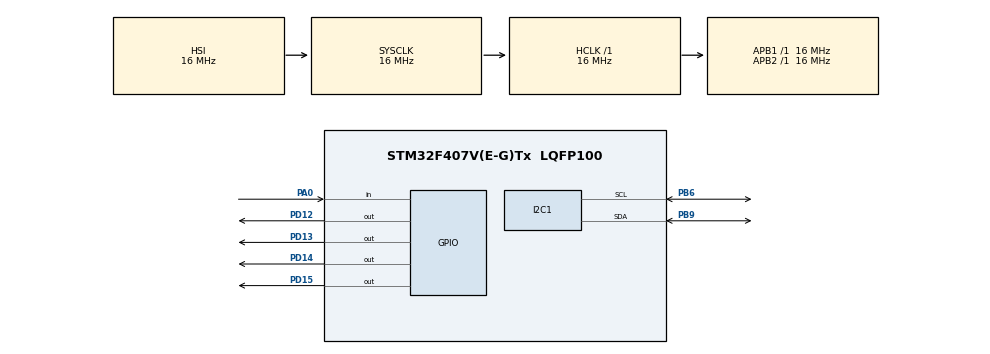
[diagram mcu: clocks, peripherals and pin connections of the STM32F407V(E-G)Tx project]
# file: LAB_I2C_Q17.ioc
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I2C1.AddressingMode=I2C_ADDRESSINGMODE_10BIT
I2C1.DutyCycle=I2C_DUTYCYCLE_16_9
I2C1.I2C_Mode=I2C_Fast
I2C1.OwnAddress=0x1D
Mcu.Family=STM32F4
Mcu.Name=STM32F407V(E-G)Tx
Mcu.Package=LQFP100
NVIC.I2C1_ER_IRQn=true\:0\:0\:false\:false\:true\:true\:true\:true
NVIC.I2C1_EV_IRQn=true\:0\:0\:false\:false\:true\:true\:true\:true
NVIC.PriorityGroup=NVIC_PRIORITYGROUP_4
PA0-WKUP.Signal=GPIO_Input
PB6.Mode=I2C
PB6.Signal=I2C1_SCL
PB9.Mode=I2C
PB9.Signal=I2C1_SDA
PD12.Signal=GPIO_Output
PD13.Signal=GPIO_Output
PD14.Signal=GPIO_Output
PD15.Signal=GPIO_Output
ProjectManager.HeapSize=0x200
ProjectManager.StackSize=0x400
ProjectManager.TargetToolchain=STM32CubeIDE
RCC.AHBFreq_Value=16000000
RCC.APB1Freq_Value=16000000
RCC.APB2Freq_Value=16000000
RCC.CortexFreq_Value=16000000
RCC.HSE_VALUE=25000000
RCC.HSI_VALUE=16000000
RCC.LSE_VALUE=32768
RCC.SYSCLKFreq_VALUE=16000000
RCC.VCOOutputFreq_Value=192000000
board=custom

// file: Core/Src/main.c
/* USER CODE BEGIN Header */
/**
  ******************************************************************************
  * @file           : main.c
  * @brief          : Main program body
  ******************************************************************************
  * @attention
  *
  * Copyright (c) 2026 STMicroelectronics.
  * All rights reserved.
  *
  * This software is licensed under terms that can be found in the LICENSE file
  * in the root directory of this software component.
  * If no LICENSE file comes with this software, it is provided AS-IS.
  *
  ******************************************************************************
  */
/* USER CODE END Header */
#include "main.h"

/* USER CODE BEGIN PD */
#define MASTER_BOARD
#define I2C_ADDRESS  0x1D
/* USER CODE END PD */

I2C_HandleTypeDef hi2c1;

/* USER CODE BEGIN PV */
uint8_t ubKeyNumber = 0x0;
 uint8_t aTxBuffer[2];
 uint8_t aRxBuffer[2];

/* USER CODE END PV */

void SystemClock_Config(void);
static void MX_GPIO_Init(void);
static void MX_I2C1_Init(void);
/* USER CODE BEGIN PFP */
void LED_Display(uint8_t LedStatus);
/* USER CODE END PFP */

int main(void)
{

  /* MCU Configuration--------------------------------------------------------*/

  /* Reset of all peripherals, Initializes the Flash interface and the Systick. */
  HAL_Init();

  /* Configure the system clock */
  SystemClock_Config();

  /* Initialize all configured peripherals */
  MX_GPIO_Init();
  MX_I2C1_Init();

  /* Infinite loop */
  /* USER CODE BEGIN WHILE */
#ifdef MASTER_BOARD
  while (1)
  {

      if (HAL_GPIO_ReadPin(GPIOA, GPIO_PIN_0) == GPIO_PIN_SET)
          {
                HAL_Delay(50);//Debouncing Delay
                if (HAL_GPIO_ReadPin(GPIOA, GPIO_PIN_0) == GPIO_PIN_SET)
                    {
                        if (ubKeyNumber == 0x4)
                              ubKeyNumber = 0x00;
                        else
                            {
                                LED_Display(++ubKeyNumber);

                                /* Set the data to be transmitted */
                                aTxBuffer[0] = ubKeyNumber;
                                aTxBuffer[1] = 0xAA;

                                /*##-1- Start the transmission process #####################################*/
                                /* While the I2C in reception process, user can transmit data through
                                "aTxBuffer" buffer */
                                /* Timeout is set to 10S */
                                while(HAL_I2C_Master_Transmit(&hi2c1, (uint16_t)I2C_ADDRESS, (uint8_t*)aTxBuffer, 2,10000)!= HAL_OK)
                                    {
                                        /* Error_Handler() function is called when Timeout error occurs.
                                       When Acknowledge failure occurs (Slave don't acknowledge it's address)
                                       Master restarts communication */
                                        if (HAL_I2C_GetError(&hi2c1) != HAL_I2C_ERROR_AF)
                                                Error_Handler();

                                    }
                                HAL_Delay(100);//Delay just for better Tuning
                            }
                        }
             }

    /* USER CODE END WHILE */

    /* USER CODE BEGIN 3 */
  }

#else
  while(1)
  {

      /*##-2- Put I2C peripheral in reception process ############################*/
        /* Timeout is set to 10S  */
        if(HAL_I2C_Slave_Receive(&hi2c1, (uint8_t *)aRxBuffer, 2, 10000) == HAL_OK)
            LED_Display(aRxBuffer[0]);
        else
            Error_Handler();    /* Transfer error in reception process */

        //while (HAL_I2C_GetState(&hi2c1) != HAL_I2C_STATE_READY);
  }
#endif /* MASTER_BOARD */
    /* USER CODE END WHILE */

    /* USER CODE BEGIN 3 */
  }
  /* USER CODE END 3 */

void SystemClock_Config(void)
{
  RCC_OscInitTypeDef RCC_OscInitStruct = {0};
  RCC_ClkInitTypeDef RCC_ClkInitStruct = {0};

  /** Configure the main internal regulator output voltage
  */
  __HAL_RCC_PWR_CLK_ENABLE();
  __HAL_PWR_VOLTAGESCALING_CONFIG(PWR_REGULATOR_VOLTAGE_SCALE1);

  /** Initializes the RCC Oscillators according to the specified parameters
  * in the RCC_OscInitTypeDef structure.
  */
  RCC_OscInitStruct.OscillatorType = RCC_OSCILLATORTYPE_HSI;
  RCC_OscInitStruct.HSIState = RCC_HSI_ON;
  RCC_OscInitStruct.HSICalibrationValue = RCC_HSICALIBRATION_DEFAULT;
  RCC_OscInitStruct.PLL.PLLState = RCC_PLL_NONE;
  if (HAL_RCC_OscConfig(&RCC_OscInitStruct) != HAL_OK)
  {
    Error_Handler();
  }

  /** Initializes the CPU, AHB and APB buses clocks
  */
  RCC_ClkInitStruct.ClockType = RCC_CLOCKTYPE_HCLK|RCC_CLOCKTYPE_SYSCLK
                              |RCC_CLOCKTYPE_PCLK1|RCC_CLOCKTYPE_PCLK2;
  RCC_ClkInitStruct.SYSCLKSource = RCC_SYSCLKSOURCE_HSI;
  RCC_ClkInitStruct.AHBCLKDivider = RCC_SYSCLK_DIV1;
  RCC_ClkInitStruct.APB1CLKDivider = RCC_HCLK_DIV1;
  RCC_ClkInitStruct.APB2CLKDivider = RCC_HCLK_DIV1;

  if (HAL_RCC_ClockConfig(&RCC_ClkInitStruct, FLASH_LATENCY_0) != HAL_OK)
  {
    Error_Handler();
  }
}

static void MX_I2C1_Init(void)
{

  hi2c1.Instance = I2C1;
  hi2c1.Init.ClockSpeed = 400000;
  hi2c1.Init.DutyCycle = I2C_DUTYCYCLE_16_9;
  hi2c1.Init.OwnAddress1 = 29;
  hi2c1.Init.AddressingMode = I2C_ADDRESSINGMODE_10BIT;
  hi2c1.Init.DualAddressMode = I2C_DUALADDRESS_DISABLE;
  hi2c1.Init.OwnAddress2 = 0;
  hi2c1.Init.GeneralCallMode = I2C_GENERALCALL_DISABLE;
  hi2c1.Init.NoStretchMode = I2C_NOSTRETCH_DISABLE;
  if (HAL_I2C_Init(&hi2c1) != HAL_OK)
  {
    Error_Handler();
  }

}

static void MX_GPIO_Init(void)
{
  GPIO_InitTypeDef GPIO_InitStruct = {0};

  /* GPIO Ports Clock Enable */
  __HAL_RCC_GPIOA_CLK_ENABLE();
  __HAL_RCC_GPIOD_CLK_ENABLE();
  __HAL_RCC_GPIOB_CLK_ENABLE();

  /*Configure GPIO pin Output Level */
  HAL_GPIO_WritePin(GPIOD, GPIO_PIN_12|GPIO_PIN_13|GPIO_PIN_14|GPIO_PIN_15, GPIO_PIN_RESET);

  /*Configure GPIO pin : PA0 */
  GPIO_InitStruct.Pin = GPIO_PIN_0;
  GPIO_InitStruct.Mode = GPIO_MODE_INPUT;
  GPIO_InitStruct.Pull = GPIO_NOPULL;
  HAL_GPIO_Init(GPIOA, &GPIO_InitStruct);

  /*Configure GPIO pins : PD12 PD13 PD14 PD15 */
  GPIO_InitStruct.Pin = GPIO_PIN_12|GPIO_PIN_13|GPIO_PIN_14|GPIO_PIN_15;
  GPIO_InitStruct.Mode = GPIO_MODE_OUTPUT_PP;
  GPIO_InitStruct.Pull = GPIO_NOPULL;
  GPIO_InitStruct.Speed = GPIO_SPEED_FREQ_LOW;
  HAL_GPIO_Init(GPIOD, &GPIO_InitStruct);

}

/* USER CODE BEGIN 4 */
/**
  * @brief  Turns ON/OFF the dedicated LED.
  * @param  LedStatus: LED number from 0 to 3
  * @retval None
  */
void LED_Display(uint8_t LedStatus)
{
  /* Turn OFF all LEDs */
    HAL_GPIO_WritePin(GPIOD, GPIO_PIN_12|GPIO_PIN_13|GPIO_PIN_14|GPIO_PIN_15, GPIO_PIN_RESET);

  switch(LedStatus)
  {
    case (1):
      /* Turn ON LED1 */
        HAL_GPIO_WritePin(GPIOD, GPIO_PIN_12, GPIO_PIN_SET);
      break;

    case (2):
      /* Turn ON LED2 */
        HAL_GPIO_WritePin(GPIOD, GPIO_PIN_13, GPIO_PIN_SET);
      break;

    case (3):
      /* Turn ON LED3 */
        HAL_GPIO_WritePin(GPIOD, GPIO_PIN_14, GPIO_PIN_SET);
      break;

    case (4):
      /* Turn ON LED4 */
        HAL_GPIO_WritePin(GPIOD, GPIO_PIN_15, GPIO_PIN_SET);
      break;
    default:
      break;
  }
}
/* USER CODE END 4 */

void Error_Handler(void)
{
  /* USER CODE BEGIN Error_Handler_Debug */
  /* User can add his own implementation to report the HAL error return state */
	    HAL_GPIO_WritePin(GPIOD, GPIO_PIN_14, SET);//Turn On Red LED on Slave Error
  __disable_irq();
  while (1)
  {
  }
  /* USER CODE END Error_Handler_Debug */
}
